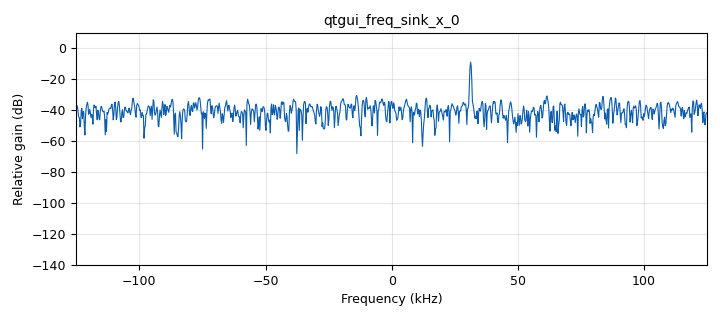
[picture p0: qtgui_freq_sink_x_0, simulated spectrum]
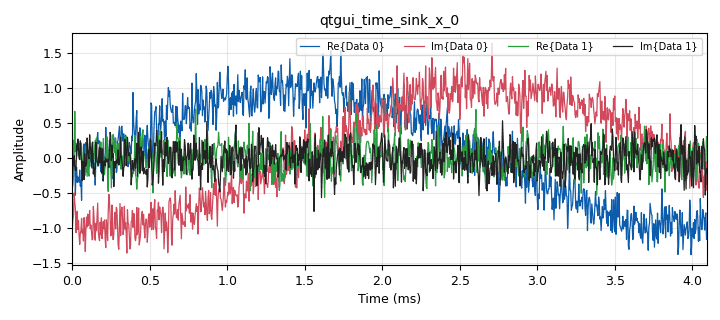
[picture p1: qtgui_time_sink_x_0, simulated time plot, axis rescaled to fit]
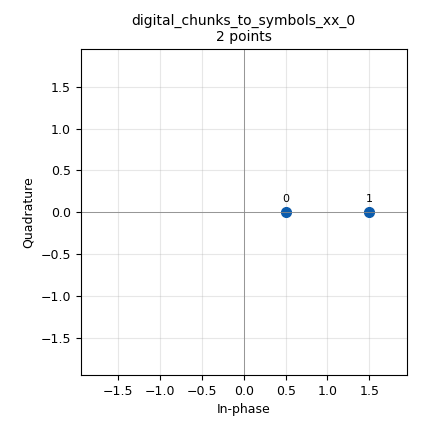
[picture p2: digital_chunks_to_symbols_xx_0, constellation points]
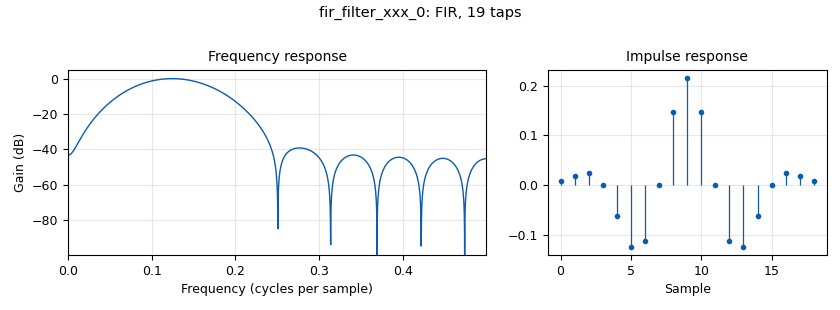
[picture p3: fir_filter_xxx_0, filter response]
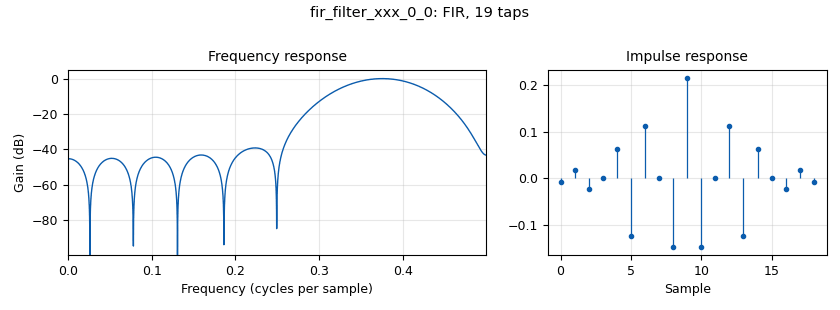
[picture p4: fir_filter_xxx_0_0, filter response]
<?xml version='1.0' encoding='utf-8'?>
<?grc format='1' created='3.7.8'?>
<flow_graph>
<block>
<key>options</key>
<param><key>id</key><value>top_block</value></param>
<param><key>category</key><value>Custom</value></param>
<param><key>generate_options</key><value>qt_gui</value></param>
</block>
<block>
<key>variable</key>
<param><key>id</key><value>down_sampling</value></param>
<param><key>value</key><value>16</value></param>
</block>
<block>
<key>variable</key>
<param><key>id</key><value>f0_bp_taps</value></param>
<param><key>value</key><value> [0.008489873260259628, 0.017516516149044037, 0.02309376560151577, -1.1766864243609758e-17, -0.06292477995157242, -0.12457011640071869, -0.1126808300614357, 3.387264241990756e-17, 0.14707811176776886, 0.21481703221797943, 0.14707811176776886, 3.387264241990756e-17, -0.1126808300614357, -0.12457011640071869, -0.06292477995157242, -1.1766864243609758e-17, 0.02309376560151577, 0.017516516149044037, 0.008489873260259628]</value></param>
</block>
<block>
<key>variable</key>
<param><key>id</key><value>f1_bp_taps</value></param>
<param><key>value</key><value>[-0.008489873260259628, 0.017516516149044037, -0.02309376560151577, 3.1378305752533504e-17, 0.06292477995157242, -0.12457011640071869, 0.1126808300614357, -3.387264241990756e-17, -0.14707811176776886, 0.21481703221797943, -0.14707811176776886, -3.387264241990756e-17, 0.1126808300614357, -0.12457011640071869, 0.06292477995157242, 3.1378305752533504e-17, -0.02309376560151577, 0.017516516149044037, -0.008489873260259628]</value></param>
</block>
<block>
<key>variable_tag_object</key>
<param><key>id</key><value>preamble_len_tag</value></param>
<param><key>key</key><value>pmt.intern("packet_len")</value></param>
<param><key>offset</key><value>0</value></param>
<param><key>src</key><value>pmt.intern("src")</value></param>
<param><key>value</key><value>pmt.from_long(8)</value></param>
</block>
<block>
<key>variable</key>
<param><key>id</key><value>sample_rate</value></param>
<param><key>value</key><value>250e3*down_sampling</value></param>
</block>
<block>
<key>analog_frequency_modulator_fc</key>
<param><key>id</key><value>analog_frequency_modulator_fc_0</value></param>
<param><key>sensitivity</key><value>2*pi/4</value></param>
</block>
<block>
<key>blocks_complex_to_mag_squared</key>
<param><key>id</key><value>blocks_complex_to_mag_squared_0</value></param>
</block>
<block>
<key>blocks_complex_to_mag_squared</key>
<param><key>id</key><value>blocks_complex_to_mag_squared_0_0</value></param>
</block>
<block>
<key>blocks_file_source</key>
<param><key>id</key><value>blocks_file_source_0</value></param>
<param><key>_enabled</key><value>0</value></param>
<param><key>file</key><value>/home/jkraemer/Documents/src/rad1o-id/data/jan.vcard</value></param>
<param><key>type</key><value>byte</value></param>
<param><key>repeat</key><value>True</value></param>
</block>
<block>
<key>blocks_multiply_const_vxx</key>
<param><key>id</key><value>blocks_multiply_const_vxx_0</value></param>
<param><key>const</key><value>0.7</value></param>
<param><key>type</key><value>complex</value></param>
</block>
<block>
<key>blocks_packed_to_unpacked_xx</key>
<param><key>id</key><value>blocks_packed_to_unpacked_xx_0</value></param>
<param><key>bits_per_chunk</key><value>1</value></param>
<param><key>endianness</key><value>gr.GR_MSB_FIRST</value></param>
<param><key>type</key><value>byte</value></param>
</block>
<block>
<key>blocks_repeat</key>
<param><key>id</key><value>blocks_repeat_0</value></param>
<param><key>interp</key><value>16</value></param>
<param><key>type</key><value>byte</value></param>
</block>
<block>
<key>blocks_stream_to_tagged_stream</key>
<param><key>id</key><value>blocks_stream_to_tagged_stream_0</value></param>
<param><key>len_tag_key</key><value>packet_len</value></param>
<param><key>packet_len</key><value>64</value></param>
<param><key>type</key><value>byte</value></param>
</block>
<block>
<key>blocks_tag_debug</key>
<param><key>id</key><value>blocks_tag_debug_0</value></param>
<param><key>display</key><value>False</value></param>
<param><key>type</key><value>byte</value></param>
<param><key>filter</key><value></value></param>
<param><key>name</key><value>packet_length</value></param>
</block>
<block>
<key>blocks_tagged_stream_align</key>
<param><key>id</key><value>blocks_tagged_stream_align_1</value></param>
<param><key>type</key><value>byte</value></param>
<param><key>lengthtagname</key><value>packet_len</value></param>
</block>
<block>
<key>blocks_tagged_stream_mux</key>
<param><key>id</key><value>blocks_tagged_stream_mux_0</value></param>
<param><key>type</key><value>byte</value></param>
<param><key>lengthtagname</key><value>"packet_len"</value></param>
<param><key>ninputs</key><value>2</value></param>
</block>
<block>
<key>blocks_throttle</key>
<param><key>id</key><value>blocks_throttle_0</value></param>
<param><key>_enabled</key><value>2</value></param>
<param><key>samples_per_second</key><value>sample_rate/down_sampling</value></param>
<param><key>type</key><value>byte</value></param>
</block>
<block>
<key>blocks_vector_source_x</key>
<param><key>id</key><value>blocks_vector_source_x_0</value></param>
<param><key>type</key><value>byte</value></param>
<param><key>repeat</key><value>True</value></param>
<param><key>tags</key><value>[preamble_len_tag]</value></param>
<param><key>vector</key><value>[0,0]</value></param>
</block>
<block>
<key>blocks_vector_source_x</key>
<param><key>id</key><value>blocks_vector_source_x_1</value></param>
<param><key>type</key><value>byte</value></param>
<param><key>repeat</key><value>True</value></param>
<param><key>vector</key><value>(0,0)</value></param>
</block>
<block>
<key>channels_channel_model</key>
<param><key>id</key><value>channels_channel_model_0</value></param>
<param><key>block_tags</key><value>True</value></param>
<param><key>epsilon</key><value>1.0</value></param>
<param><key>freq_offset</key><value>1e-4</value></param>
<param><key>noise_voltage</key><value>100e-2</value></param>
<param><key>seed</key><value>0</value></param>
<param><key>taps</key><value>1.0 + 1.0j</value></param>
</block>
<block>
<key>digital_chunks_to_symbols_xx</key>
<param><key>id</key><value>digital_chunks_to_symbols_xx_0</value></param>
<param><key>dimension</key><value>1</value></param>
<param><key>in_type</key><value>byte</value></param>
<param><key>out_type</key><value>float</value></param>
<param><key>symbol_table</key><value>[0.5, 1.5]</value></param>
</block>
<block>
<key>fir_filter_xxx</key>
<param><key>id</key><value>fir_filter_xxx_0</value></param>
<param><key>decim</key><value>down_sampling/2</value></param>
<param><key>taps</key><value>f0_bp_taps</value></param>
<param><key>type</key><value>ccc</value></param>
</block>
<block>
<key>fir_filter_xxx</key>
<param><key>id</key><value>fir_filter_xxx_0_0</value></param>
<param><key>decim</key><value>down_sampling/2</value></param>
<param><key>taps</key><value>f1_bp_taps</value></param>
<param><key>type</key><value>ccc</value></param>
</block>
<block>
<key>fir_filter_xxx</key>
<param><key>id</key><value>fir_filter_xxx_1</value></param>
<param><key>decim</key><value>down_sampling/2</value></param>
<param><key>taps</key><value>1</value></param>
<param><key>type</key><value>fff</value></param>
</block>
<block>
<key>fir_filter_xxx</key>
<param><key>id</key><value>fir_filter_xxx_1_0</value></param>
<param><key>decim</key><value>down_sampling/2</value></param>
<param><key>taps</key><value>1</value></param>
<param><key>type</key><value>fff</value></param>
</block>
<block>
<key>import</key>
<param><key>id</key><value>import_0</value></param>
<param><key>import</key><value>import pmt</value></param>
</block>
<block>
<key>import</key>
<param><key>id</key><value>import_1</value></param>
<param><key>import</key><value>from math import pi</value></param>
</block>
<block>
<key>qtgui_freq_sink_x</key>
<param><key>id</key><value>qtgui_freq_sink_x_0</value></param>
<param><key>bw</key><value>sample_rate/down_sampling</value></param>
<param><key>fc</key><value>0</value></param>
<param><key>fftsize</key><value>1024</value></param>
<param><key>showports</key><value>True</value></param>
<param><key>type</key><value>complex</value></param>
<param><key>wintype</key><value>firdes.WIN_BLACKMAN_hARRIS</value></param>
</block>
<block>
<key>qtgui_number_sink</key>
<param><key>id</key><value>qtgui_number_sink_0</value></param>
<param><key>graph_type</key><value>qtgui.NUM_GRAPH_HORIZ</value></param>
<param><key>type</key><value>byte</value></param>
</block>
<block>
<key>qtgui_time_sink_x</key>
<param><key>id</key><value>qtgui_time_sink_x_0</value></param>
<param><key>color1</key><value>"blue"</value></param>
<param><key>label1</key><value></value></param>
<param><key>color2</key><value>"red"</value></param>
<param><key>label2</key><value></value></param>
<param><key>color3</key><value>"green"</value></param>
<param><key>label3</key><value></value></param>
<param><key>color4</key><value>"black"</value></param>
<param><key>label4</key><value></value></param>
<param><key>nconnections</key><value>2</value></param>
<param><key>size</key><value>1024</value></param>
<param><key>srate</key><value>sample_rate/down_sampling</value></param>
<param><key>type</key><value>complex</value></param>
</block>
<block>
<key>rad1o_id_compare_select_fb</key>
<param><key>id</key><value>rad1o_id_compare_select_fb_0</value></param>
</block>
<connection><source_block_id>analog_frequency_modulator_fc_0</source_block_id><sink_block_id>channels_channel_model_0</sink_block_id><source_key>0</source_key><sink_key>0</sink_key></connection>
<connection><source_block_id>blocks_complex_to_mag_squared_0</source_block_id><sink_block_id>fir_filter_xxx_1</sink_block_id><source_key>0</source_key><sink_key>0</sink_key></connection>
<connection><source_block_id>blocks_complex_to_mag_squared_0_0</source_block_id><sink_block_id>fir_filter_xxx_1_0</sink_block_id><source_key>0</source_key><sink_key>0</sink_key></connection>
<connection><source_block_id>blocks_file_source_0</source_block_id><sink_block_id>blocks_stream_to_tagged_stream_0</sink_block_id><source_key>0</source_key><sink_key>0</sink_key></connection>
<connection><source_block_id>blocks_multiply_const_vxx_0</source_block_id><sink_block_id>fir_filter_xxx_0</sink_block_id><source_key>0</source_key><sink_key>0</sink_key></connection>
<connection><source_block_id>blocks_multiply_const_vxx_0</source_block_id><sink_block_id>fir_filter_xxx_0_0</sink_block_id><source_key>0</source_key><sink_key>0</sink_key></connection>
<connection><source_block_id>blocks_multiply_const_vxx_0</source_block_id><sink_block_id>qtgui_freq_sink_x_0</sink_block_id><source_key>0</source_key><sink_key>0</sink_key></connection>
<connection><source_block_id>blocks_packed_to_unpacked_xx_0</source_block_id><sink_block_id>blocks_repeat_0</sink_block_id><source_key>0</source_key><sink_key>0</sink_key></connection>
<connection><source_block_id>blocks_repeat_0</source_block_id><sink_block_id>blocks_throttle_0</sink_block_id><source_key>0</source_key><sink_key>0</sink_key></connection>
<connection><source_block_id>blocks_stream_to_tagged_stream_0</source_block_id><sink_block_id>blocks_tagged_stream_mux_0</sink_block_id><source_key>0</source_key><sink_key>1</sink_key></connection>
<connection><source_block_id>blocks_tagged_stream_align_1</source_block_id><sink_block_id>blocks_tagged_stream_mux_0</sink_block_id><source_key>0</source_key><sink_key>0</sink_key></connection>
<connection><source_block_id>blocks_tagged_stream_mux_0</source_block_id><sink_block_id>blocks_packed_to_unpacked_xx_0</sink_block_id><source_key>0</source_key><sink_key>0</sink_key></connection>
<connection><source_block_id>blocks_tagged_stream_mux_0</source_block_id><sink_block_id>blocks_tag_debug_0</sink_block_id><source_key>0</source_key><sink_key>0</sink_key></connection>
<connection><source_block_id>blocks_throttle_0</source_block_id><sink_block_id>digital_chunks_to_symbols_xx_0</sink_block_id><source_key>0</source_key><sink_key>0</sink_key></connection>
<connection><source_block_id>blocks_vector_source_x_0</source_block_id><sink_block_id>blocks_tagged_stream_align_1</sink_block_id><source_key>0</source_key><sink_key>0</sink_key></connection>
<connection><source_block_id>blocks_vector_source_x_1</source_block_id><sink_block_id>blocks_stream_to_tagged_stream_0</sink_block_id><source_key>0</source_key><sink_key>0</sink_key></connection>
<connection><source_block_id>channels_channel_model_0</source_block_id><sink_block_id>blocks_multiply_const_vxx_0</sink_block_id><source_key>0</source_key><sink_key>0</sink_key></connection>
<connection><source_block_id>digital_chunks_to_symbols_xx_0</source_block_id><sink_block_id>analog_frequency_modulator_fc_0</sink_block_id><source_key>0</source_key><sink_key>0</sink_key></connection>
<connection><source_block_id>fir_filter_xxx_0</source_block_id><sink_block_id>blocks_complex_to_mag_squared_0</sink_block_id><source_key>0</source_key><sink_key>0</sink_key></connection>
<connection><source_block_id>fir_filter_xxx_0</source_block_id><sink_block_id>qtgui_time_sink_x_0</sink_block_id><source_key>0</source_key><sink_key>0</sink_key></connection>
<connection><source_block_id>fir_filter_xxx_0_0</source_block_id><sink_block_id>blocks_complex_to_mag_squared_0_0</sink_block_id><source_key>0</source_key><sink_key>0</sink_key></connection>
<connection><source_block_id>fir_filter_xxx_0_0</source_block_id><sink_block_id>qtgui_time_sink_x_0</sink_block_id><source_key>0</source_key><sink_key>1</sink_key></connection>
<connection><source_block_id>fir_filter_xxx_1</source_block_id><sink_block_id>rad1o_id_compare_select_fb_0</sink_block_id><source_key>0</source_key><sink_key>0</sink_key></connection>
<connection><source_block_id>fir_filter_xxx_1_0</source_block_id><sink_block_id>rad1o_id_compare_select_fb_0</sink_block_id><source_key>0</source_key><sink_key>1</sink_key></connection>
<connection><source_block_id>rad1o_id_compare_select_fb_0</source_block_id><sink_block_id>qtgui_number_sink_0</sink_block_id><source_key>0</source_key><sink_key>0</sink_key></connection>
</flow_graph>
